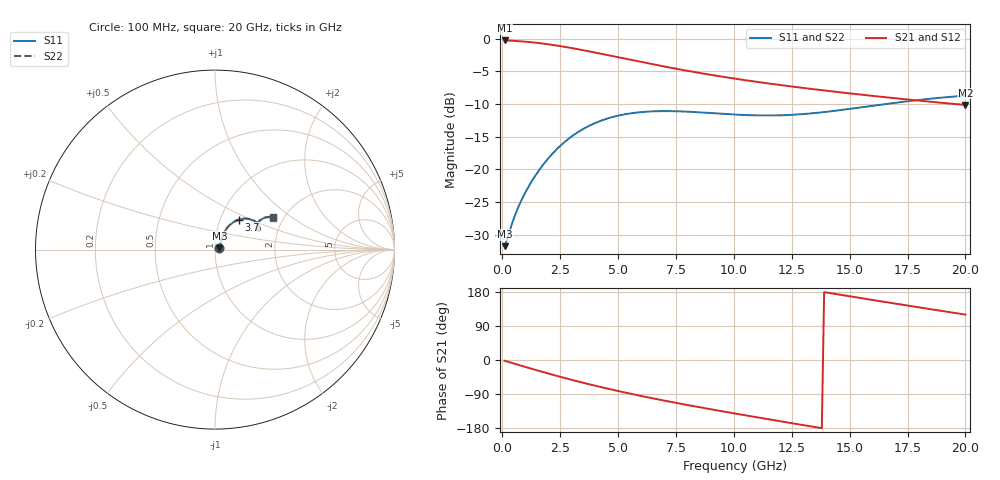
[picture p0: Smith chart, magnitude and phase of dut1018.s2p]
! Touchstone file exported from HFSS 2024.1.0
!  File:  C:/UserFiles/LocalFiles/RDL_TSV_Batchsim/temp_RDL_TSV_1018_1780080175.aedt
!  Generated:  03:15:35 AM May 30, 2026
!  Design:  RDL_TSV
!  Project:  temp_RDL_TSV_1018_1780080175
!  Setup:  Setup1
!  Solution:  Sweep
! Variables:
!  dtsv = 5.08um
!  hbump = 3um
!  htsv = 90.08um
!  ldown = 323.53um
!  lrdl = 607.95um
!  p = 40
!  p1 = 47.06um
!  rhole = 10um
!  subl = 3402.39um
!  t = 450um
!  tdown = 2.56um
!  trdl = 2.08um
!  viad = 10um
!  wdown = 26.71um
!  wrdl = 20.72um
!  xbump = 18um
# GHz S MA R 50.000000
! Terminal data exported
! Port[1] = TM1_1_T1
! Port[2] = TM1_4_T1
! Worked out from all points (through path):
!   200 points, 100 MHz to 20 GHz, reference 50 ohm
!   highest |S21| = -0.26 dB at 100 MHz (marker M1); lowest = -10.1 dB at 20 GHz (marker M2)
!   group delay of S21, straight-line fit = 31.9 ps
!   lowest |S11| = -31.8 dB at 100 MHz (marker M3), VSWR 1.05, Z = 52.6 + j0.694 ohm
!   |S11| at or under -10 dB: start of sweep to 16.56 GHz
!   |S22| runs from -31.8 to -8.7 dB; largest |S21 - S12| = 1.3e-14
!   S11 on the Smith chart (normalised r, x): 100 MHz: 1.05, +0.01; 3.7 GHz: 1.23, +0.43; 20 GHz: 1.75, +0.72
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0.1  0.02578 14.8  0.9704 -1.9  0.9704 -1.9  0.0257 14.8
! Gamma 0 0 0 0
! Port Impedance 50 0 50 0
0.5  0.04216 45.6  0.9634 -9.4  0.9634 -9.4  0.04189 45.5
0.7  0.05176 51.6  0.9584 -13.1  0.9584 -13.1  0.05139 51.6
1.1  0.07187 58.3  0.9459 -20.3  0.9459 -20.3  0.07135 58.4
1.5  0.09352 61.1  0.9301 -27.3  0.9301 -27.3  0.09294 61.4
2  0.1221 61.5  0.9061 -36.0  0.9061 -36.0  0.1216 61.8
2.5  0.1511 59.7  0.8784 -44.3  0.8784 -44.3  0.1506 60.1
3  0.1788 56.6  0.8483 -52.4  0.8483 -52.4  0.1786 57.0
3.5  0.2041 52.9  0.8169 -60.2  0.8169 -60.2  0.204 53.3
3.7  0.2132 51.3  0.8041 -63.2  0.8041 -63.2  0.2132 51.7
4.3  0.237 46.4  0.7657 -72.1  0.7657 -72.1  0.2372 46.8
5  0.2576 41.0  0.7221 -81.8  0.7221 -81.8  0.258 41.3
5.9  0.2732 34.7  0.6696 -93.7  0.6696 -93.7  0.2738 35.0
6.8  0.2789 29.7  0.6223 -104.8  0.6223 -104.8  0.2797 30.0
8.4  0.274 24.3  0.5517 -123.3  0.5517 -123.3  0.2749 24.6
10.1  0.2624 23.4  0.4931 -141.8  0.4931 -141.8  0.2633 23.7
11.7  0.2585 26.1  0.4494 -158.5  0.4494 -158.5  0.2594 26.3
13.4  0.2687 30.0  0.4116 -175.8  0.4116 -175.8  0.2697 30.2
15.1  0.2917 32.6  0.3798 167.1  0.3798 167.1  0.2928 32.8
16.7  0.3186 32.9  0.3541 151.4  0.3541 151.4  0.3198 33.1
18.3  0.3445 31.6  0.3317 136.0  0.3317 136.0  0.3459 31.8
20  0.3666 29.1  0.3112 119.8  0.3112 119.8  0.3681 29.3
